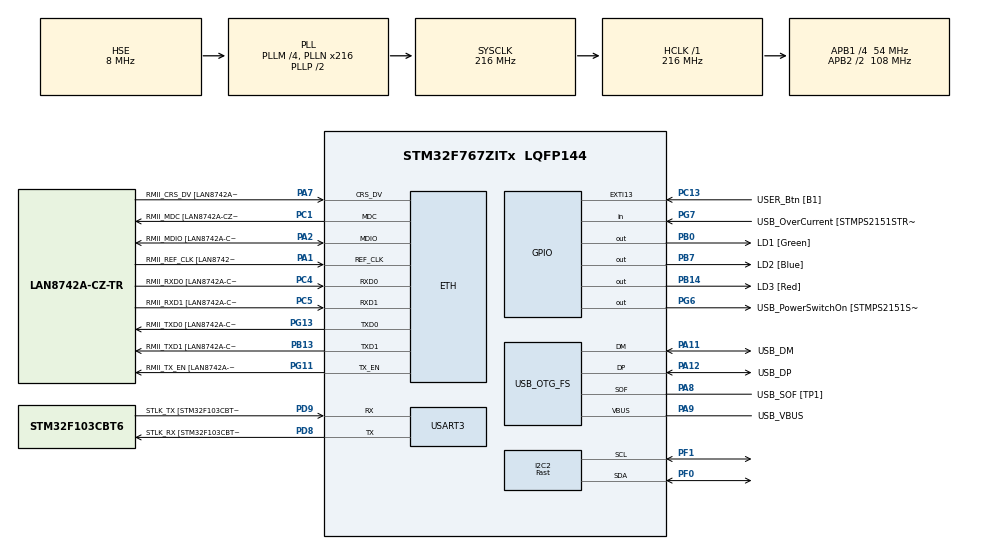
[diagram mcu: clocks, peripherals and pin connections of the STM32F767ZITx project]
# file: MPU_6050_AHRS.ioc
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ETH.MediaInterface=ETH_MEDIA_INTERFACE_RMII
ETH.PHY_Name=LAN8742A_PHY_ADDRESS
ETH.PHY_Value=0
ETH.PhyAddress=0
I2C2.I2C_Speed_Mode=I2C_Fast
I2C2.Timing=0x6000030D
Mcu.Family=STM32F7
Mcu.Name=STM32F767ZITx
Mcu.Package=LQFP144
NVIC.PriorityGroup=NVIC_PRIORITYGROUP_4
NVIC.TIM6_DAC_IRQn=true\:0\:0\:false\:false\:true\:true\:true
PA1.GPIO_Label=RMII_REF_CLK [LAN8742A-CZ-TR_REFCLK0]
PA1.Mode=RMII
PA1.Signal=ETH_REF_CLK
PA10.GPIO_Label=USB_ID
PA10.Signal=USB_OTG_FS_ID
PA11.GPIO_Label=USB_DM
PA11.Mode=Device_Only
PA11.Signal=USB_OTG_FS_DM
PA12.GPIO_Label=USB_DP
PA12.Mode=Device_Only
PA12.Signal=USB_OTG_FS_DP
PA13.GPIO_Label=TMS
PA13.Mode=Serial_Wire
PA13.Signal=SYS_JTMS-SWDIO
PA14.GPIO_Label=TCK
PA14.Mode=Serial_Wire
PA14.Signal=SYS_JTCK-SWCLK
PA2.GPIO_Label=RMII_MDIO [LAN8742A-CZ-TR_MDIO]
PA2.Mode=RMII
PA2.Signal=ETH_MDIO
PA7.GPIO_Label=RMII_CRS_DV [LAN8742A-CZ-TR_CRS_DV]
PA7.Mode=RMII
PA7.Signal=ETH_CRS_DV
PA8.GPIO_Label=USB_SOF [TP1]
PA8.Mode=Activate_SOF_FS
PA8.Signal=USB_OTG_FS_SOF
PA9.GPIO_Label=USB_VBUS
PA9.Mode=Activate_VBUS
PA9.Signal=USB_OTG_FS_VBUS
PB0.GPIO_Label=LD1 [Green]
PB0.Signal=GPIO_Output
PB13.GPIO_Label=RMII_TXD1 [LAN8742A-CZ-TR_TXD1]
PB13.Mode=RMII
PB13.Signal=ETH_TXD1
PB14.GPIO_Label=LD3 [Red]
PB14.Signal=GPIO_Output
PB3.GPIO_Label=SWO
PB3.Signal=SYS_JTDO-SWO
PB7.GPIO_Label=LD2 [Blue]
PB7.Signal=GPIO_Output
PC1.GPIO_Label=RMII_MDC [LAN8742A-CZ-TR_MDC]
PC1.Mode=RMII
PC1.Signal=ETH_MDC
PC13.GPIO_Label=USER_Btn [B1]
PC13.Signal=GPXTI13
PC14/OSC32_IN.Mode=LSE-External-Oscillator
PC14/OSC32_IN.Signal=RCC_OSC32_IN
PC15/OSC32_OUT.Mode=LSE-External-Oscillator
PC15/OSC32_OUT.Signal=RCC_OSC32_OUT
PC4.GPIO_Label=RMII_RXD0 [LAN8742A-CZ-TR_RXD0]
PC4.Mode=RMII
PC4.Signal=ETH_RXD0
PC5.GPIO_Label=RMII_RXD1 [LAN8742A-CZ-TR_RXD1]
PC5.Mode=RMII
PC5.Signal=ETH_RXD1
PD8.GPIO_Label=STLK_RX [STM32F103CBT6_PA3]
PD8.Mode=Asynchronous
PD8.Signal=USART3_TX
PD9.GPIO_Label=STLK_TX [STM32F103CBT6_PA2]
PD9.Mode=Asynchronous
PD9.Signal=USART3_RX
PF0.Mode=I2C
PF0.Signal=I2C2_SDA
PF1.Mode=I2C
PF1.Signal=I2C2_SCL
PG11.GPIO_Label=RMII_TX_EN [LAN8742A-CZ-TR_TXEN]
PG11.Mode=RMII
PG11.Signal=ETH_TX_EN
PG13.GPIO_Label=RMII_TXD0 [LAN8742A-CZ-TR_TXD0]
PG13.Mode=RMII
PG13.Signal=ETH_TXD0
PG6.GPIO_Label=USB_PowerSwitchOn [STMPS2151STR_EN]
PG6.Signal=GPIO_Output
PG7.GPIO_Label=USB_OverCurrent [STMPS2151STR_FAULT]
PG7.Signal=GPIO_Input
PH0/OSC_IN.GPIO_Label=MCO [STM32F103CBT6_PA8]
PH0/OSC_IN.Mode=HSE-External-Clock-Source
PH0/OSC_IN.Signal=RCC_OSC_IN
PH1/OSC_OUT.Mode=HSE-External-Clock-Source
PH1/OSC_OUT.Signal=RCC_OSC_OUT
ProjectManager.HeapSize=0x200
ProjectManager.StackSize=0x400
ProjectManager.TargetToolchain=STM32CubeIDE
RCC.48MHZClocksFreq_Value=24000000
RCC.AHBFreq_Value=216000000
RCC.APB1CLKDivider=RCC_HCLK_DIV4
RCC.APB1Freq_Value=54000000
RCC.APB1TimFreq_Value=108000000
RCC.APB2CLKDivider=RCC_HCLK_DIV2
RCC.APB2Freq_Value=108000000
RCC.APB2TimFreq_Value=216000000
RCC.CortexFreq_Value=216000000
RCC.HCLKFreq_Value=216000000
RCC.HSE_VALUE=8000000
RCC.HSI_VALUE=16000000
RCC.PLLM=4
RCC.PLLMUL=RCC_PLL_MUL9
RCC.PLLN=216
RCC.PLLQ=9
RCC.PRESCALERUSB=RCC_USBCLKSOURCE_PLL_DIV1_5
RCC.SYSCLKFreq_VALUE=216000000
RCC.SYSCLKSource=RCC_SYSCLKSOURCE_PLLCLK
RCC.SYSCLKSourceVirtual=RCC_SYSCLKSOURCE_PLLCLK
RCC.USBFreq_Value=48000000
RCC.VCOOutputFreq_Value=432000000
TIM6.Period=2000-1
TIM6.Prescaler=108-1
USART3.VirtualMode-Asynchronous=VM_ASYNC
USB_OTG_FS.VirtualMode=Device_Only
VP_TIM6_VS_ClockSourceINT.Mode=Enable_Timer
board=NUCLEO-F767ZI

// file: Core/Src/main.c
/* USER CODE BEGIN Header */
/**
  ******************************************************************************
  * @file           : main.c
  * @brief          : Main program body
  ******************************************************************************
  * @attention
  *
  * <h2><center>&copy; Copyright (c) 2021 STMicroelectronics.
  * All rights reserved.</center></h2>
  *
  * This software component is licensed by ST under BSD 3-Clause license,
  * the "License"; You may not use this file except in compliance with the
  * License. You may obtain a copy of the License at:
  *                        opensource.org/licenses/BSD-3-Clause
  *
  ******************************************************************************
  */
/* USER CODE END Header */
#include "main.h"

/* USER CODE BEGIN Includes */
#include <stdio.h>
#include <string.h>
#include <stdbool.h>
#include <math.h>
#include <stdlib.h>

#include "sd_hal_mpu6050.h"
#include "MadgwickAHRS.h"

/* USER CODE END Includes */

/* USER CODE BEGIN PTD */
SD_MPU6050 mpu1;
HAL_StatusTypeDef ret;
/* USER CODE END PTD */

ETH_HandleTypeDef heth;

I2C_HandleTypeDef hi2c2;

TIM_HandleTypeDef htim6;

UART_HandleTypeDef huart3;

PCD_HandleTypeDef hpcd_USB_OTG_FS;

/* USER CODE BEGIN PV */

// Accelerometer data raw

int16_t a_x;
int16_t a_y;
int16_t a_z;

int16_t g_x;
int16_t g_y;
int16_t g_z;

// Accelerometer data converted to +16 to -16 G

uint8_t Tim_Cnt = 1;
uint8_t prev_tim_val;

double Ax;
double Ay;
double Az;

double Gx;
double Gy;
double Gz;

//calib variables
double tot_ax;
double tot_ay;
double tot_az;

double tot_gx;
double tot_gy;
double tot_gz;

double ROLL;
double PITCH;
double YAW;

float Eu_Roll;
float Eu_Pitch;
float Eu_Yaw;
// Extras
SD_MPU6050_Result result ;
bool Bias_calib = true;
uint8_t calib = 0;

/* USER CODE END PV */

void SystemClock_Config(void);
static void MX_GPIO_Init(void);
static void MX_ETH_Init(void);
static void MX_USART3_UART_Init(void);
static void MX_USB_OTG_FS_PCD_Init(void);
static void MX_I2C2_Init(void);
static void MX_TIM6_Init(void);

int main(void)
{
  /* USER CODE BEGIN 1 */

//	uint8_t buff[12];
    uint8_t mpu_ok[20] ={"MPU WORK FINE\r\n"};
    uint8_t mpu_not[20] ={"MPU NOT WORKING\r\n"};
    uint8_t tags[200] ={"Raw_ax,Raw_ay,Raw_az,Raw_gx,Raw_gy,Raw_gz,Ax,Ay,Az,Gx,Gy,Gz,Q0,Q1,Q2,Q3,ROLL,PITCH,YAW,Eu_Roll,Eu_Pitch,Eu_Yaw\r\n"};
    char data[1000];

  /* USER CODE END 1 */

  /* MCU Configuration--------------------------------------------------------*/

  /* Reset of all peripherals, Initializes the Flash interface and the Systick. */
  HAL_Init();

  /* Configure the system clock */
  SystemClock_Config();

  /* Initialize all configured peripherals */
  MX_GPIO_Init();
  MX_ETH_Init();
  MX_USART3_UART_Init();
  MX_USB_OTG_FS_PCD_Init();
  MX_I2C2_Init();
  MX_TIM6_Init();
  /* USER CODE BEGIN 2 */

    HAL_TIM_Base_Start_IT(&htim6);

    result = SD_MPU6050_Init(&hi2c2, &mpu1, SD_MPU6050_Device_0, SD_MPU6050_Accelerometer_16G, SD_MPU6050_Gyroscope_2000s);
    HAL_Delay(500);
    if (result == SD_MPU6050_Result_Ok)
	{
	HAL_UART_Transmit(&huart3, mpu_ok, sizeof(mpu_ok), HAL_MAX_DELAY);
	}
    else
	{
	HAL_UART_Transmit(&huart3, mpu_not, sizeof(mpu_not), HAL_MAX_DELAY);
	}

    sprintf(data, "calibrating....\r\n");
    HAL_UART_Transmit(&huart3, (uint8_t*) data, strlen(data), HAL_MAX_DELAY);

    for (int calib_loop = 0; calib_loop < 2000; calib_loop++)
	{
	SD_MPU6050_ReadGyroscope(&hi2c2, &mpu1);
	g_x = mpu1.Gyroscope_X;
	g_y = mpu1.Gyroscope_Y;
	g_z = mpu1.Gyroscope_Z;

//	SD_MPU6050_ReadAccelerometer(&hi2c2, &mpu1);
//	a_x = mpu1.Accelerometer_X;
//	a_y = mpu1.Accelerometer_Y;
//	a_z = mpu1.Accelerometer_Z;

//	tot_ax = tot_ax + (double)a_x/2000.0;
//	tot_ay = tot_ax + (double)a_y/2000.0;
//	tot_az = tot_ax + (double)a_z/2000.0;

	tot_gx = tot_gx + (double) g_x / 2000.0;
	tot_gy = tot_gy + (double) g_y / 2000.0;
	tot_gz = tot_gz + (double) g_z / 2000.0;

	HAL_Delay(2);
	}
    sprintf(data, "calibrating done\r\n");
    HAL_UART_Transmit(&huart3, (uint8_t*) data, strlen(data), HAL_MAX_DELAY);

    HAL_UART_Transmit(&huart3, (uint8_t*) tags, sizeof(tags), HAL_MAX_DELAY);
  /* USER CODE END 2 */

  /* Infinite loop */
    while (1)
	{

    /* USER CODE BEGIN 3 */
	if (prev_tim_val != Tim_Cnt)
	    {
	    prev_tim_val = Tim_Cnt;

	    SD_MPU6050_ReadTemperature(&hi2c2, &mpu1);
//	  float temper = mpu1.Temperature;
	    SD_MPU6050_ReadGyroscope(&hi2c2, &mpu1);
	    g_x = mpu1.Gyroscope_X;
	    g_y = mpu1.Gyroscope_Y;
	    g_z = mpu1.Gyroscope_Z;

	    SD_MPU6050_ReadAccelerometer(&hi2c2, &mpu1);
	    a_x = mpu1.Accelerometer_X;
	    a_y = mpu1.Accelerometer_Y;
	    a_z = mpu1.Accelerometer_Z;

	    Bias_calib = false;
	    Ax = (((((double) a_x - tot_ax) + 32768.0) / 65535.0) * 32.0) - 16.0;
	    Ay = (((((double) a_y - tot_ay) + 32768.0) / 65535.0) * 32.0) - 16.0;
	    Az = (((((double) a_z - tot_az) + 32768.0) / 65535.0) * 32.0) - 16.0;

	    Gx = (((((double) g_x - tot_gx) + 32768.0) / 65535.0) * 4000.0) - 2000.0;
	    Gy = (((((double) g_y - tot_gy) + 32768.0) / 65535.0) * 4000.0) - 2000.0;
	    Gz = (((((double) g_z - tot_gz) + 32768.0) / 65535.0) * 4000.0) - 2000.0;

	    Gx = (Gx * M_PI) / 180.0;
	    Gy = (Gy * M_PI) / 180.0;
	    Gz = (Gz * M_PI) / 180.0;

	    MadgwickAHRSupdateIMU(Gx, Gy, Gz, Ax, Ay, Az);

//	  	Euler Angles

//	  	roll (x-axis rotation)
	    double sinr_cosp = 2 * ((q0 * q1) + (q2 * q3));
	    double cosr_cosp = 1 - (2 * ((q1 * q1) + (q2 * q2)));
	    ROLL = atan2(sinr_cosp, cosr_cosp);

//	    pitch (y-axis rotation)
	    double sinp = 2 * ((q0 * q2) - (q3 * q1));
	    if (abs(sinp) >= 1)
		PITCH = copysign(M_PI / 2, sinp); // use 90 degrees if out of range
	    else
		PITCH = asin(sinp);

	    // yaw (z-axis rotation)
	    double siny_cosp = 2 * ((q0 * q3) + (q1 * q2));
	    double cosy_cosp = 1 - (2 * ((q2 * q2) + (q3 * q3)));
	    YAW = atan2(siny_cosp, cosy_cosp);

	    Eu_Roll = ROLL * (180 / M_PI);
	    Eu_Pitch = PITCH * (180 / M_PI);
	    Eu_Yaw = YAW * (180 / M_PI);

	    /**********************************    Enable for Data analysis   ***************************/
	    sprintf(data, "%d ,%d ,%d ,%d ,%d ,%d ,%f ,%f ,%f ,%f ,%f ,%f ,", a_x, a_y, a_z, g_x, g_y, g_z, Ax, Ay, Az, Gx, Gy, Gz);
	    HAL_UART_Transmit(&huart3, (uint8_t*) data, strlen(data), HAL_MAX_DELAY);
	    sprintf(data, "%f ,%f ,%f ,%f ,", q0, q1, q2, q3);
	    HAL_UART_Transmit(&huart3, (uint8_t*) data, strlen(data), HAL_MAX_DELAY);
	    sprintf(data, "%f ,%f ,%f ,%f ,%f ,%f\r\n", ROLL, PITCH, YAW, Eu_Roll, Eu_Pitch, Eu_Yaw);
	    HAL_UART_Transmit(&huart3, (uint8_t*) data, strlen(data), HAL_MAX_DELAY);
	    /*********************************************************************************************/

//	  	sprintf(data,"%f ,%f ,%f\r\n",Eu_Roll,Eu_Pitch,Eu_Yaw);
//	  	HAL_UART_Transmit(&huart3, (uint8_t*) data, strlen(data),HAL_MAX_DELAY);
	    }
	}
  /* USER CODE END 3 */
}

void SystemClock_Config(void)
{
  RCC_OscInitTypeDef RCC_OscInitStruct = {0};
  RCC_ClkInitTypeDef RCC_ClkInitStruct = {0};
  RCC_PeriphCLKInitTypeDef PeriphClkInitStruct = {0};

  /** Configure LSE Drive Capability
  */
  HAL_PWR_EnableBkUpAccess();
  /** Configure the main internal regulator output voltage
  */
  __HAL_RCC_PWR_CLK_ENABLE();
  __HAL_PWR_VOLTAGESCALING_CONFIG(PWR_REGULATOR_VOLTAGE_SCALE1);
  /** Initializes the RCC Oscillators according to the specified parameters
  * in the RCC_OscInitTypeDef structure.
  */
  RCC_OscInitStruct.OscillatorType = RCC_OSCILLATORTYPE_HSE;
  RCC_OscInitStruct.HSEState = RCC_HSE_BYPASS;
  RCC_OscInitStruct.PLL.PLLState = RCC_PLL_ON;
  RCC_OscInitStruct.PLL.PLLSource = RCC_PLLSOURCE_HSE;
  RCC_OscInitStruct.PLL.PLLM = 4;
  RCC_OscInitStruct.PLL.PLLN = 216;
  RCC_OscInitStruct.PLL.PLLP = RCC_PLLP_DIV2;
  RCC_OscInitStruct.PLL.PLLQ = 9;
  if (HAL_RCC_OscConfig(&RCC_OscInitStruct) != HAL_OK)
  {
    Error_Handler();
  }
  /** Activate the Over-Drive mode
  */
  if (HAL_PWREx_EnableOverDrive() != HAL_OK)
  {
    Error_Handler();
  }
  /** Initializes the CPU, AHB and APB buses clocks
  */
  RCC_ClkInitStruct.ClockType = RCC_CLOCKTYPE_HCLK|RCC_CLOCKTYPE_SYSCLK
                              |RCC_CLOCKTYPE_PCLK1|RCC_CLOCKTYPE_PCLK2;
  RCC_ClkInitStruct.SYSCLKSource = RCC_SYSCLKSOURCE_PLLCLK;
  RCC_ClkInitStruct.AHBCLKDivider = RCC_SYSCLK_DIV1;
  RCC_ClkInitStruct.APB1CLKDivider = RCC_HCLK_DIV4;
  RCC_ClkInitStruct.APB2CLKDivider = RCC_HCLK_DIV2;

  if (HAL_RCC_ClockConfig(&RCC_ClkInitStruct, FLASH_LATENCY_7) != HAL_OK)
  {
    Error_Handler();
  }
  PeriphClkInitStruct.PeriphClockSelection = RCC_PERIPHCLK_USART3|RCC_PERIPHCLK_I2C2
                              |RCC_PERIPHCLK_CLK48;
  PeriphClkInitStruct.Usart3ClockSelection = RCC_USART3CLKSOURCE_PCLK1;
  PeriphClkInitStruct.I2c2ClockSelection = RCC_I2C2CLKSOURCE_PCLK1;
  PeriphClkInitStruct.Clk48ClockSelection = RCC_CLK48SOURCE_PLL;
  if (HAL_RCCEx_PeriphCLKConfig(&PeriphClkInitStruct) != HAL_OK)
  {
    Error_Handler();
  }
}

static void MX_ETH_Init(void)
{

  heth.Instance = ETH;
  heth.Init.AutoNegotiation = ETH_AUTONEGOTIATION_ENABLE;
  heth.Init.PhyAddress = LAN8742A_PHY_ADDRESS;
  heth.Init.MACAddr[0] =   0x00;
  heth.Init.MACAddr[1] =   0x80;
  heth.Init.MACAddr[2] =   0xE1;
  heth.Init.MACAddr[3] =   0x00;
  heth.Init.MACAddr[4] =   0x00;
  heth.Init.MACAddr[5] =   0x00;
  heth.Init.RxMode = ETH_RXPOLLING_MODE;
  heth.Init.ChecksumMode = ETH_CHECKSUM_BY_HARDWARE;
  heth.Init.MediaInterface = ETH_MEDIA_INTERFACE_RMII;

  if (HAL_ETH_Init(&heth) != HAL_OK)
  {
    Error_Handler();
  }

}

static void MX_I2C2_Init(void)
{

  hi2c2.Instance = I2C2;
  hi2c2.Init.Timing = 0x6000030D;
  hi2c2.Init.OwnAddress1 = 0;
  hi2c2.Init.AddressingMode = I2C_ADDRESSINGMODE_7BIT;
  hi2c2.Init.DualAddressMode = I2C_DUALADDRESS_DISABLE;
  hi2c2.Init.OwnAddress2 = 0;
  hi2c2.Init.OwnAddress2Masks = I2C_OA2_NOMASK;
  hi2c2.Init.GeneralCallMode = I2C_GENERALCALL_DISABLE;
  hi2c2.Init.NoStretchMode = I2C_NOSTRETCH_DISABLE;
  if (HAL_I2C_Init(&hi2c2) != HAL_OK)
  {
    Error_Handler();
  }
  /** Configure Analogue filter
  */
  if (HAL_I2CEx_ConfigAnalogFilter(&hi2c2, I2C_ANALOGFILTER_ENABLE) != HAL_OK)
  {
    Error_Handler();
  }
  /** Configure Digital filter
  */
  if (HAL_I2CEx_ConfigDigitalFilter(&hi2c2, 0) != HAL_OK)
  {
    Error_Handler();
  }

}

static void MX_TIM6_Init(void)
{

  TIM_MasterConfigTypeDef sMasterConfig = {0};

  htim6.Instance = TIM6;
  htim6.Init.Prescaler = 108-1;
  htim6.Init.CounterMode = TIM_COUNTERMODE_UP;
  htim6.Init.Period = 2000-1;
  htim6.Init.AutoReloadPreload = TIM_AUTORELOAD_PRELOAD_DISABLE;
  if (HAL_TIM_Base_Init(&htim6) != HAL_OK)
  {
    Error_Handler();
  }
  sMasterConfig.MasterOutputTrigger = TIM_TRGO_RESET;
  sMasterConfig.MasterSlaveMode = TIM_MASTERSLAVEMODE_DISABLE;
  if (HAL_TIMEx_MasterConfigSynchronization(&htim6, &sMasterConfig) != HAL_OK)
  {
    Error_Handler();
  }

}

static void MX_USART3_UART_Init(void)
{

  huart3.Instance = USART3;
  huart3.Init.BaudRate = 115200;
  huart3.Init.WordLength = UART_WORDLENGTH_8B;
  huart3.Init.StopBits = UART_STOPBITS_1;
  huart3.Init.Parity = UART_PARITY_NONE;
  huart3.Init.Mode = UART_MODE_TX_RX;
  huart3.Init.HwFlowCtl = UART_HWCONTROL_NONE;
  huart3.Init.OverSampling = UART_OVERSAMPLING_16;
  huart3.Init.OneBitSampling = UART_ONE_BIT_SAMPLE_DISABLE;
  huart3.AdvancedInit.AdvFeatureInit = UART_ADVFEATURE_NO_INIT;
  if (HAL_UART_Init(&huart3) != HAL_OK)
  {
    Error_Handler();
  }

}

static void MX_USB_OTG_FS_PCD_Init(void)
{

  hpcd_USB_OTG_FS.Instance = USB_OTG_FS;
  hpcd_USB_OTG_FS.Init.dev_endpoints = 6;
  hpcd_USB_OTG_FS.Init.speed = PCD_SPEED_FULL;
  hpcd_USB_OTG_FS.Init.dma_enable = DISABLE;
  hpcd_USB_OTG_FS.Init.phy_itface = PCD_PHY_EMBEDDED;
  hpcd_USB_OTG_FS.Init.Sof_enable = ENABLE;
  hpcd_USB_OTG_FS.Init.low_power_enable = DISABLE;
  hpcd_USB_OTG_FS.Init.lpm_enable = DISABLE;
  hpcd_USB_OTG_FS.Init.vbus_sensing_enable = ENABLE;
  hpcd_USB_OTG_FS.Init.use_dedicated_ep1 = DISABLE;
  if (HAL_PCD_Init(&hpcd_USB_OTG_FS) != HAL_OK)
  {
    Error_Handler();
  }

}

static void MX_GPIO_Init(void)
{
  GPIO_InitTypeDef GPIO_InitStruct = {0};

  /* GPIO Ports Clock Enable */
  __HAL_RCC_GPIOC_CLK_ENABLE();
  __HAL_RCC_GPIOF_CLK_ENABLE();
  __HAL_RCC_GPIOH_CLK_ENABLE();
  __HAL_RCC_GPIOA_CLK_ENABLE();
  __HAL_RCC_GPIOB_CLK_ENABLE();
  __HAL_RCC_GPIOD_CLK_ENABLE();
  __HAL_RCC_GPIOG_CLK_ENABLE();

  /*Configure GPIO pin Output Level */
  HAL_GPIO_WritePin(GPIOB, LD1_Pin|LD3_Pin|LD2_Pin, GPIO_PIN_RESET);

  /*Configure GPIO pin Output Level */
  HAL_GPIO_WritePin(USB_PowerSwitchOn_GPIO_Port, USB_PowerSwitchOn_Pin, GPIO_PIN_RESET);

  /*Configure GPIO pin : USER_Btn_Pin */
  GPIO_InitStruct.Pin = USER_Btn_Pin;
  GPIO_InitStruct.Mode = GPIO_MODE_IT_RISING;
  GPIO_InitStruct.Pull = GPIO_NOPULL;
  HAL_GPIO_Init(USER_Btn_GPIO_Port, &GPIO_InitStruct);

  /*Configure GPIO pins : LD1_Pin LD3_Pin LD2_Pin */
  GPIO_InitStruct.Pin = LD1_Pin|LD3_Pin|LD2_Pin;
  GPIO_InitStruct.Mode = GPIO_MODE_OUTPUT_PP;
  GPIO_InitStruct.Pull = GPIO_NOPULL;
  GPIO_InitStruct.Speed = GPIO_SPEED_FREQ_LOW;
  HAL_GPIO_Init(GPIOB, &GPIO_InitStruct);

  /*Configure GPIO pin : USB_PowerSwitchOn_Pin */
  GPIO_InitStruct.Pin = USB_PowerSwitchOn_Pin;
  GPIO_InitStruct.Mode = GPIO_MODE_OUTPUT_PP;
  GPIO_InitStruct.Pull = GPIO_NOPULL;
  GPIO_InitStruct.Speed = GPIO_SPEED_FREQ_LOW;
  HAL_GPIO_Init(USB_PowerSwitchOn_GPIO_Port, &GPIO_InitStruct);

  /*Configure GPIO pin : USB_OverCurrent_Pin */
  GPIO_InitStruct.Pin = USB_OverCurrent_Pin;
  GPIO_InitStruct.Mode = GPIO_MODE_INPUT;
  GPIO_InitStruct.Pull = GPIO_NOPULL;
  HAL_GPIO_Init(USB_OverCurrent_GPIO_Port, &GPIO_InitStruct);

}

/* USER CODE BEGIN 4 */
void HAL_TIM_PeriodElapsedCallback(TIM_HandleTypeDef *htim)
{
	if(htim == &htim6)
	{
		if(Tim_Cnt < 200)
		{
			Tim_Cnt++;
		}
		else
		{
			Tim_Cnt = 1;
		}
	}
}
/* USER CODE END 4 */

void Error_Handler(void)
{
}

/************************ (C) COPYRIGHT STMicroelectronics *****END OF FILE****/
